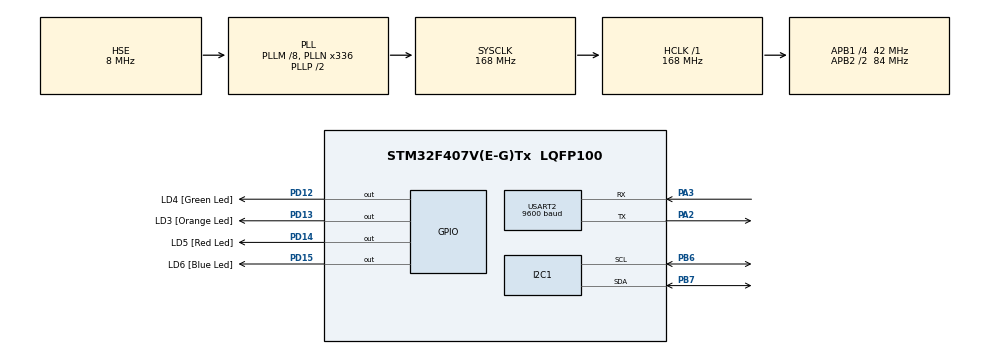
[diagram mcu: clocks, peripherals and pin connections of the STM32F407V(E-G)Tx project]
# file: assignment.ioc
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Mcu.Family=STM32F4
Mcu.Name=STM32F407V(E-G)Tx
Mcu.Package=LQFP100
NVIC.PriorityGroup=NVIC_PRIORITYGROUP_0
PA13.GPIO_Label=SWDIO
PA13.Mode=Serial_Wire
PA13.Signal=SYS_JTMS-SWDIO
PA14.GPIO_Label=SWCLK
PA14.Mode=Serial_Wire
PA14.Signal=SYS_JTCK-SWCLK
PA2.Mode=Asynchronous
PA2.Signal=USART2_TX
PA3.Mode=Asynchronous
PA3.Signal=USART2_RX
PB3.GPIO_Label=SWO
PB3.Signal=SYS_JTDO-SWO
PB6.Mode=I2C
PB6.Signal=I2C1_SCL
PB7.Mode=I2C
PB7.Signal=I2C1_SDA
PD12.GPIO_Label=LD4 [Green Led]
PD12.GPIO_PuPd=GPIO_NOPULL
PD12.GPIO_Speed=GPIO_SPEED_FREQ_LOW
PD12.Signal=GPIO_Output
PD13.GPIO_Label=LD3 [Orange Led]
PD13.GPIO_PuPd=GPIO_NOPULL
PD13.GPIO_Speed=GPIO_SPEED_FREQ_LOW
PD13.Signal=GPIO_Output
PD14.GPIO_Label=LD5 [Red Led]
PD14.GPIO_PuPd=GPIO_NOPULL
PD14.GPIO_Speed=GPIO_SPEED_FREQ_LOW
PD14.Signal=GPIO_Output
PD15.GPIO_Label=LD6 [Blue Led]
PD15.GPIO_PuPd=GPIO_NOPULL
PD15.GPIO_Speed=GPIO_SPEED_FREQ_LOW
PD15.Signal=GPIO_Output
PH0-OSC_IN.GPIO_Label=PH0-OSC_IN
PH0-OSC_IN.Mode=HSE-External-Oscillator
PH0-OSC_IN.Signal=RCC_OSC_IN
PH1-OSC_OUT.GPIO_Label=PH1-OSC_OUT
PH1-OSC_OUT.Mode=HSE-External-Oscillator
PH1-OSC_OUT.Signal=RCC_OSC_OUT
ProjectManager.HeapSize=0x200
ProjectManager.StackSize=0x400
ProjectManager.TargetToolchain=STM32CubeIDE
RCC.48MHZClocksFreq_Value=48000000
RCC.AHBFreq_Value=168000000
RCC.APB1CLKDivider=RCC_HCLK_DIV4
RCC.APB1Freq_Value=42000000
RCC.APB1TimFreq_Value=84000000
RCC.APB2CLKDivider=RCC_HCLK_DIV2
RCC.APB2Freq_Value=84000000
RCC.APB2TimFreq_Value=168000000
RCC.CortexFreq_Value=168000000
RCC.HCLKFreq_Value=168000000
RCC.HSE_VALUE=8000000
RCC.HSI_VALUE=16000000
RCC.LSE_VALUE=32768
RCC.PLLM=8
RCC.PLLN=336
RCC.PLLQ=7
RCC.PLLSourceVirtual=RCC_PLLSOURCE_HSE
RCC.SYSCLKFreq_VALUE=168000000
RCC.SYSCLKSource=RCC_SYSCLKSOURCE_PLLCLK
RCC.VCOOutputFreq_Value=336000000
USART2.BaudRate=9600
USART2.Mode=MODE_TX
USART2.VirtualMode=VM_ASYNC
VP_RTC_VS_RTC_Activate.Mode=RTC_Enabled
board=STM32F407G-DISC1

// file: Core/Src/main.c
/* USER CODE BEGIN Header */
/**
  ******************************************************************************
  * @file           : main.c
  * @brief          : Main program body
  ******************************************************************************
  * @attention
  *
  * Copyright (c) 2024 STMicroelectronics.
  * All rights reserved.
  *
  * This software is licensed under terms that can be found in the LICENSE file
  * in the root directory of this software component.
  * If no LICENSE file comes with this software, it is provided AS-IS.
  *
  ******************************************************************************
  */
/* USER CODE END Header */
#include "main.h"

/* USER CODE BEGIN Includes */
#include "filter.h"
#include "circular.h"
#include "stats.h"
#include "timer.h"

/* USER CODE END Includes */

/* USER CODE BEGIN PD */
#define SAMPLE_RATE 1 //in hertz
#define BROADCAST_PERIOD 30 //per samples
/* USER CODE END PD */

 I2C_HandleTypeDef hi2c1;

RTC_HandleTypeDef hrtc;

UART_HandleTypeDef huart2;

/* USER CODE BEGIN PV */

 buf_handle_t cb = { // Circular Buffer
     .capacity = CIRCULAR_BUFFER_SIZE
 };
 buf_handle_t cb_raw = {
     .capacity = MOV_WINDOW_SIZE // Set buffer capacity to maximum size
 };
 buf_stats_t cb_stats;
 time_handle_t current_time_RTC;

 float TX_data = 0;
/* USER CODE END PV */

void SystemClock_Config(void);
static void MX_GPIO_Init(void);
static void MX_I2C1_Init(void);
static void MX_USART2_UART_Init(void);
static void MX_RTC_Init(void);

int main(void)
{

  /* MCU Configuration--------------------------------------------------------*/

  /* Reset of all peripherals, Initializes the Flash interface and the Systick. */
  HAL_Init();

  /* USER CODE BEGIN Init */
  float filtered_value;
  uint8_t time_elapsed;
  /* USER CODE END Init */

  /* Configure the system clock */
  SystemClock_Config();

  /* Initialize all configured peripherals */
  MX_GPIO_Init();
  MX_I2C1_Init();
  MX_USART2_UART_Init();
  MX_RTC_Init();
  /* USER CODE BEGIN 2 */
  timer_init();
  uint8_t na = 0;
  /* USER CODE END 2 */

  /* Infinite loop */
  while (1)
  {

    /* USER CODE BEGIN 3 */
	  	//float mock_values[] = {1,2,3,4,5,6,7,8,9,10,11,12,13,14,15,16,17,18,19,20,21,22,23,24,25,26,27,28,29,30,31,32,33,34,35,36,37,38,39,40,41,42,43,44,45,46,47,48,49,50,51,52,53,54,55,56,57,58,59,60,61,62,63,64,65,66,67,68,69,70,71,72,73,74,75,76,77,78,79,80,81,82,83,84,85,86,87,88,89,90};
	  	float mock_values[] = {814,822,811,782,708,849,801,729,773,786,856,792,710,831,747,835,779,858,700,808,770,863,795,724,823,865,813,871,852,875,833,848,788,755,807,838,791,864,736,764,896,890,728,854,794,796,845,722,787,762,877,841,743,881,853,821,895,879,834,876,888,898,725,804,749,886,748,715,702,777,855,734,732,751,706,707,731,900,703,891,746,859,892,772,873,818,829,862,778,844,842,709,739,718,827,789,889,851,738,767};

	  	if (timer_get(&current_time_RTC)) { // If time changes (every second)

	  		filtered_value = filter_sensor_value(&cb_raw, mock_values[na]);
	  		buffer_enter_value(&cb, filtered_value);

	  		/* DEBUG */
	  		char tx_buffer[TX_BUFFER_SIZE];
	 	  	snprintf(tx_buffer, TX_BUFFER_SIZE, "raw=%.2f,", mock_values[na]);
	 	  	HAL_UART_Transmit(&huart2, (uint8_t *)tx_buffer, strlen(tx_buffer), HAL_MAX_DELAY);
	   		snprintf(tx_buffer, TX_BUFFER_SIZE, "filtered=%.2f\n", filtered_value);
	   		HAL_UART_Transmit(&huart2, (uint8_t *)tx_buffer, strlen(tx_buffer), HAL_MAX_DELAY);

	  		if (time_elapsed >= BROADCAST_PERIOD){
	 	  		stats_transmit(&huart2, &cb);
	  			time_elapsed = 0;
	    	}

	  		time_elapsed++;
	  	}
	  	HAL_Delay(1);
  }
  /* USER CODE END 3 */
}

void SystemClock_Config(void)
{
  RCC_OscInitTypeDef RCC_OscInitStruct = {0};
  RCC_ClkInitTypeDef RCC_ClkInitStruct = {0};

  /** Configure the main internal regulator output voltage
  */
  __HAL_RCC_PWR_CLK_ENABLE();
  __HAL_PWR_VOLTAGESCALING_CONFIG(PWR_REGULATOR_VOLTAGE_SCALE1);

  /** Initializes the RCC Oscillators according to the specified parameters
  * in the RCC_OscInitTypeDef structure.
  */
  RCC_OscInitStruct.OscillatorType = RCC_OSCILLATORTYPE_LSI|RCC_OSCILLATORTYPE_HSE;
  RCC_OscInitStruct.HSEState = RCC_HSE_ON;
  RCC_OscInitStruct.LSIState = RCC_LSI_ON;
  RCC_OscInitStruct.PLL.PLLState = RCC_PLL_ON;
  RCC_OscInitStruct.PLL.PLLSource = RCC_PLLSOURCE_HSE;
  RCC_OscInitStruct.PLL.PLLM = 8;
  RCC_OscInitStruct.PLL.PLLN = 336;
  RCC_OscInitStruct.PLL.PLLP = RCC_PLLP_DIV2;
  RCC_OscInitStruct.PLL.PLLQ = 7;
  if (HAL_RCC_OscConfig(&RCC_OscInitStruct) != HAL_OK)
  {
    Error_Handler();
  }

  /** Initializes the CPU, AHB and APB buses clocks
  */
  RCC_ClkInitStruct.ClockType = RCC_CLOCKTYPE_HCLK|RCC_CLOCKTYPE_SYSCLK
                              |RCC_CLOCKTYPE_PCLK1|RCC_CLOCKTYPE_PCLK2;
  RCC_ClkInitStruct.SYSCLKSource = RCC_SYSCLKSOURCE_PLLCLK;
  RCC_ClkInitStruct.AHBCLKDivider = RCC_SYSCLK_DIV1;
  RCC_ClkInitStruct.APB1CLKDivider = RCC_HCLK_DIV4;
  RCC_ClkInitStruct.APB2CLKDivider = RCC_HCLK_DIV2;

  if (HAL_RCC_ClockConfig(&RCC_ClkInitStruct, FLASH_LATENCY_5) != HAL_OK)
  {
    Error_Handler();
  }
}

static void MX_I2C1_Init(void)
{

  hi2c1.Instance = I2C1;
  hi2c1.Init.ClockSpeed = 100000;
  hi2c1.Init.DutyCycle = I2C_DUTYCYCLE_2;
  hi2c1.Init.OwnAddress1 = 0;
  hi2c1.Init.AddressingMode = I2C_ADDRESSINGMODE_7BIT;
  hi2c1.Init.DualAddressMode = I2C_DUALADDRESS_DISABLE;
  hi2c1.Init.OwnAddress2 = 0;
  hi2c1.Init.GeneralCallMode = I2C_GENERALCALL_DISABLE;
  hi2c1.Init.NoStretchMode = I2C_NOSTRETCH_DISABLE;
  if (HAL_I2C_Init(&hi2c1) != HAL_OK)
  {
    Error_Handler();
  }

}

static void MX_RTC_Init(void)
{

  /** Initialize RTC Only
  */
  hrtc.Instance = RTC;
  hrtc.Init.HourFormat = RTC_HOURFORMAT_24;
  hrtc.Init.AsynchPrediv = 127;
  hrtc.Init.SynchPrediv = 255;
  hrtc.Init.OutPut = RTC_OUTPUT_DISABLE;
  hrtc.Init.OutPutPolarity = RTC_OUTPUT_POLARITY_HIGH;
  hrtc.Init.OutPutType = RTC_OUTPUT_TYPE_OPENDRAIN;
  if (HAL_RTC_Init(&hrtc) != HAL_OK)
  {
    Error_Handler();
  }

}

static void MX_USART2_UART_Init(void)
{

  huart2.Instance = USART2;
  huart2.Init.BaudRate = 9600;
  huart2.Init.WordLength = UART_WORDLENGTH_8B;
  huart2.Init.StopBits = UART_STOPBITS_1;
  huart2.Init.Parity = UART_PARITY_NONE;
  huart2.Init.Mode = UART_MODE_TX;
  huart2.Init.HwFlowCtl = UART_HWCONTROL_NONE;
  huart2.Init.OverSampling = UART_OVERSAMPLING_16;
  if (HAL_UART_Init(&huart2) != HAL_OK)
  {
    Error_Handler();
  }

}

static void MX_GPIO_Init(void)
{
  GPIO_InitTypeDef GPIO_InitStruct = {0};

  /* GPIO Ports Clock Enable */
  __HAL_RCC_GPIOH_CLK_ENABLE();
  __HAL_RCC_GPIOA_CLK_ENABLE();
  __HAL_RCC_GPIOD_CLK_ENABLE();
  __HAL_RCC_GPIOB_CLK_ENABLE();

  /*Configure GPIO pin Output Level */
  HAL_GPIO_WritePin(GPIOD, LD4_Pin|LD3_Pin|LD5_Pin|LD6_Pin, GPIO_PIN_RESET);

  /*Configure GPIO pins : LD4_Pin LD3_Pin LD5_Pin LD6_Pin */
  GPIO_InitStruct.Pin = LD4_Pin|LD3_Pin|LD5_Pin|LD6_Pin;
  GPIO_InitStruct.Mode = GPIO_MODE_OUTPUT_PP;
  GPIO_InitStruct.Pull = GPIO_NOPULL;
  GPIO_InitStruct.Speed = GPIO_SPEED_FREQ_LOW;
  HAL_GPIO_Init(GPIOD, &GPIO_InitStruct);

}

void Error_Handler(void)
{
  __disable_irq();
  while (1)
  {
  }
}
